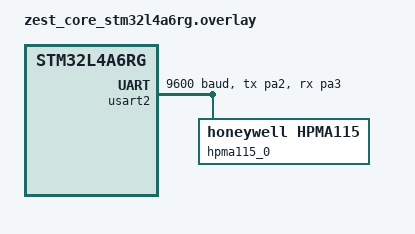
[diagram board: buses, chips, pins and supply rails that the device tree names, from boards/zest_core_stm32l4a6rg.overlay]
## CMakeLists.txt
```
# Copyright (c) 2024 CATIE
# SPDX-License-Identifier: Apache-2.0

add_subdirectory(drivers)
```

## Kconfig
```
source "Kconfig.zephyr"
rsource "drivers/Kconfig"
```

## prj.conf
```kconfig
# Enable custom device driver
CONFIG_SERIAL=y
CONFIG_UART_INTERRUPT_DRIVEN=y
CONFIG_HPMA115=y
CONFIG_GPIO=y
CONFIG_UART_ASYNC_API=y

CONFIG_SYSTEM_WORKQUEUE_STACK_SIZE=2048
# CONFIG_THREAD_NAME=y

# Logging
CONFIG_LOG=y
CONFIG_LOG_DEFAULT_LEVEL=4
CONFIG_SENSOR=y
```

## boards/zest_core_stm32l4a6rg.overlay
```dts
&usart2 {
    current-speed = <9600>;
    pinctrl-0 = <&usart2_tx_pa2 &usart2_rx_pa3>;
    pinctrl-names = "default";
    status="okay";
    hpma115: hpma115_0 {
        compatible = "honeywell,hpma115";
        status="okay";
        label = "hpma115_0";
    };
};
```

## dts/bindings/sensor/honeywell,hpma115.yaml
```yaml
description: |
  HPMA115 example.

compatible: "honeywell,hpma115"

include: [sensor-device.yaml, uart-device.yaml]
```

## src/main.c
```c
#include <zephyr/kernel.h>
#include <zephyr/drivers/sensor.h>

#include "hpma115.h"

#define SLEEP_TIME_MS   1000

void main(void)
{
    int ret;
    const struct device *sensor;
    struct sensor_value val;

    k_msleep(SLEEP_TIME_MS);
    sensor = DEVICE_DT_GET(DT_NODELABEL(hpma115));

    if (!device_is_ready(sensor)) {
        printk("Sensor not ready");
        return;
    }

    while (1) {
        ret = sensor_sample_fetch(sensor);
        ret = sensor_channel_get(sensor, SENSOR_CHAN_PM_1_0, &val);
        printk("PM1_0: %d\t", val.val1);
        ret = sensor_channel_get(sensor, SENSOR_CHAN_PM_2_5, &val);
        printk("PM2_5: %d\t", val.val1);
        ret = sensor_channel_get(sensor, SENSOR_CHAN_PM_10, &val);
        printk("PM10: %d\n", val.val1);
		if (ret < 0) {
			printk("Could not get sample (%d)", ret);
			return;
		}        
        k_msleep(SLEEP_TIME_MS);
    }
}
```
